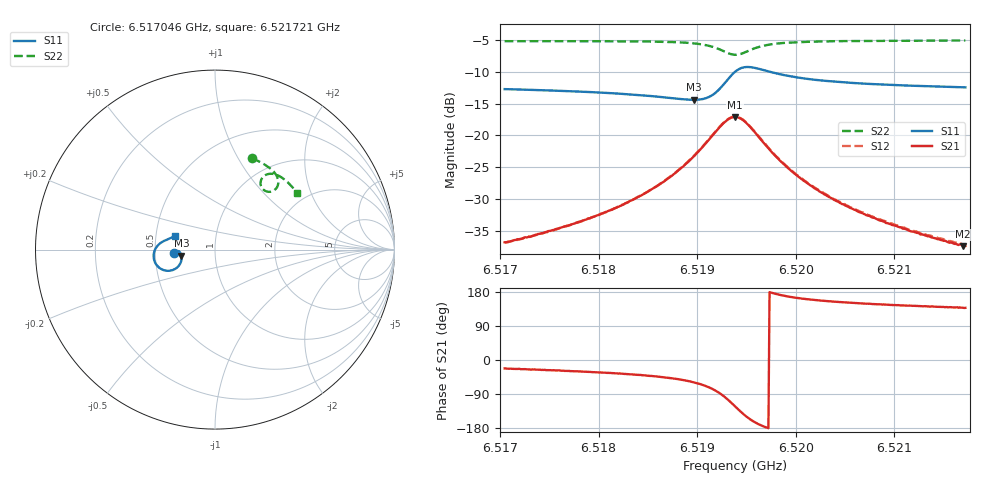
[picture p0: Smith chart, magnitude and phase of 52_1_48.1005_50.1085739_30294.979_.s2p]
#  HZ  S  RI  R  50.00
! Rohde & Schwarz Vector Network Analyzer
! Rohde-Schwarz,ZNB20-2Port,1311601062101988,3.16
! Created: UTC 12/23/2023, 3:39:51 AM
! freq[Hz]  re:S11  im:S11  re:S21  im:S21  re:S12  im:S12  re:S22  im:S22
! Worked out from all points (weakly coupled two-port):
!   401 points, 6.517046 GHz to 6.521721 GHz, reference 50 ohm
!   highest |S21| = -17.11 dB at 6.519384 GHz (marker M1); lowest = -37.4 dB at 6.521698 GHz (marker M2)
!   lowest |S11| = -14.4 dB at 6.518963 GHz (marker M3), VSWR 1.47, Z = 34.2 - j2.46 ohm
!   |S11| at or under -10 dB: start of sweep to 6.519385 GHz; 6.519735 GHz to end of sweep
!   |S22| runs from -7.3 to -5.1 dB; largest |S21 - S12| = 0.0042
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6.5170463e9  -0.2302 -0.0162  0.0134 -0.00548  0.0135 -0.0049  0.2071 0.508
6.5173034e9  -0.2275 -0.0126  0.0144 -0.00675  0.0148 -0.00613  0.2261 0.5
6.5178293e9  -0.2202 -0.00634  0.0184 -0.0108  0.0186 -0.0101  0.2649 0.4805
6.5182267e9  -0.2123 -0.00439  0.0227 -0.0164  0.0232 -0.0158  0.2947 0.4619
6.5186123e9  -0.2007 -0.00938  0.0293 -0.0285  0.0304 -0.0278  0.3247 0.4366
6.518776e9  -0.1942 -0.0167  0.0329 -0.0383  0.0341 -0.0375  0.3375 0.421
6.5189629e9  -0.187 -0.0347  0.0353 -0.0582  0.0374 -0.0574  0.3501 0.3955
6.5190681e9  -0.1864 -0.0536  0.0328 -0.0766  0.0353 -0.0762  0.3527 0.3748
6.5191616e9  -0.1939 -0.078  0.0221 -0.0987  0.0252 -0.0989  0.3476 0.3517
6.5192902e9  -0.2373 -0.1145  -0.0221 -0.1276  -0.0186 -0.1292  0.3139 0.3233
6.5193837e9  -0.2955 -0.1104  -0.0742 -0.1181  -0.0713 -0.1209  0.2735 0.3309
6.5194421e9  -0.3256 -0.0857  -0.0981 -0.0929  -0.0963 -0.0965  0.257 0.3522
6.5195006e9  -0.34 -0.0533  -0.1074 -0.0634  -0.1066 -0.0669  0.2542 0.3766
6.519594e9  -0.3374 -0.0091  -0.1005 -0.026  -0.1005 -0.0289  0.2682 0.4055
6.5196992e9  -0.321 0.0205  -0.0829 -0.00311  -0.0836 -0.00561  0.2913 0.4196
6.519933e9  -0.2886 0.046  -0.0531 0.0123  -0.0539 0.0107  0.332 0.42
6.5201667e9  -0.2693 0.0548  -0.0372 0.0141  -0.0377 0.0133  0.3592 0.4091
6.5205524e9  -0.2512 0.062  -0.0236 0.013  -0.0242 0.0125  0.391 0.3873
6.5209497e9  -0.2398 0.0679  -0.0166 0.0114  -0.0173 0.0111  0.4168 0.3637
6.521312e9  -0.2322 0.0727  -0.0129 0.0101  -0.0134 0.0101  0.4371 0.3419
6.5216977e9  -0.2254 0.0782  -0.00999 0.00907  -0.0106 0.009  0.4563 0.3179
6.5217211e9  -0.2251 0.0785  -0.01 0.00914  -0.0106 0.00905  0.4573 0.3165
